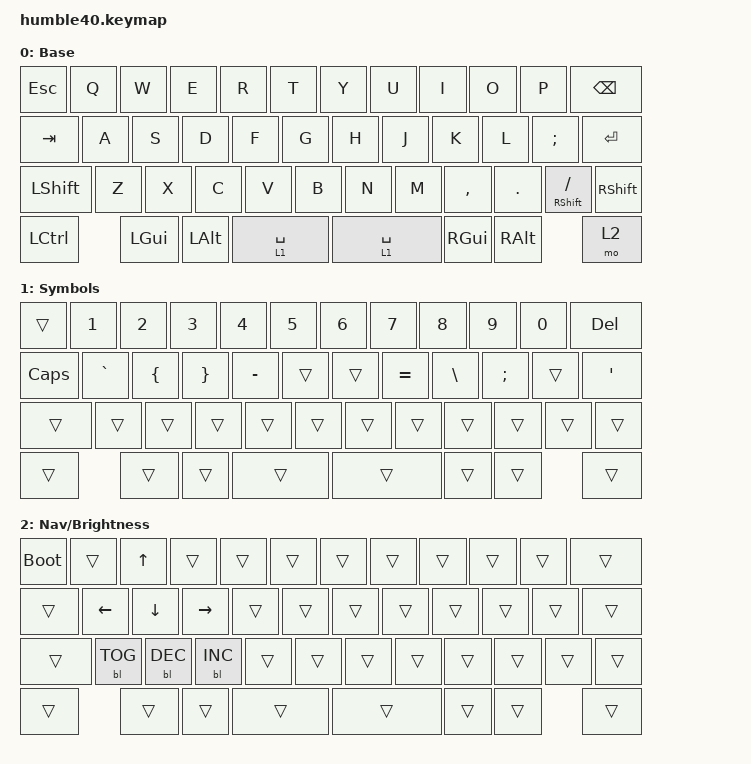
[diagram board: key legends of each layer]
/*
* Copyright (c) 2024 The ZMK Contributors
*
* SPDX-License-Identifier: MIT
*/

#include <behaviors.dtsi>
#include <dt-bindings/zmk/backlight.h>
#include <dt-bindings/zmk/keys.h>

/ {
    combos {
        compatible = "zmk,combos";

        combo_studio {
            bindings = <&studio_unlock>;
            key-positions = <0 12>;
        };

        combo_boot {
            bindings = <&bootloader>;
            key-positions = <0 11>;
        };
    };

    keymap {
        compatible = "zmk,keymap";

        default_layer {
            display-name = "Base";
            bindings = <
&kp ESC    &kp Q  &kp W     &kp E     &kp R  &kp T        &kp Y        &kp U  &kp I      &kp O     &kp P           &kp BSPC
&kp TAB    &kp A  &kp S     &kp D     &kp F  &kp G        &kp H        &kp J  &kp K      &kp L     &kp SEMI        &kp ENTER
&kp LSHFT  &kp Z  &kp X     &kp C     &kp V  &kp B        &kp N        &kp M  &kp COMMA  &kp DOT   &mt RSHFT FSLH  &kp RSHFT
&kp LCTRL         &kp LGUI  &kp LALT         &lt 1 SPACE  &lt 1 SPACE         &kp RGUI   &kp RALT                  &mo 2
            >;
        };

        symbol_layer {
            display-name = "Symbols";
            bindings = <
&trans    &kp N1     &kp N2    &kp N3    &kp N4     &kp N5  &kp N6  &kp N7     &kp N8    &kp N9    &kp N0  &kp DEL
&kp CAPS  &kp GRAVE  &kp LBRC  &kp RBRC  &kp MINUS  &trans  &trans  &kp EQUAL  &kp BSLH  &kp SEMI  &trans  &kp SQT
&trans    &trans     &trans    &trans    &trans     &trans  &trans  &trans     &trans    &trans    &trans  &trans
&trans               &trans    &trans               &trans  &trans             &trans    &trans            &trans
            >;
        };

        nav_layer {
            display-name = "Nav/Brightness";
            bindings = <
&bootloader  &trans      &kp UP      &trans      &trans  &trans  &trans  &trans  &trans  &trans  &trans  &trans
&trans       &kp LEFT    &kp DOWN    &kp RIGHT   &trans  &trans  &trans  &trans  &trans  &trans  &trans  &trans
&trans       &bl BL_TOG  &bl BL_DEC  &bl BL_INC  &trans  &trans  &trans  &trans  &trans  &trans  &trans  &trans
&trans                   &trans      &trans              &trans  &trans          &trans  &trans          &trans
            >;
        };
    };
};
